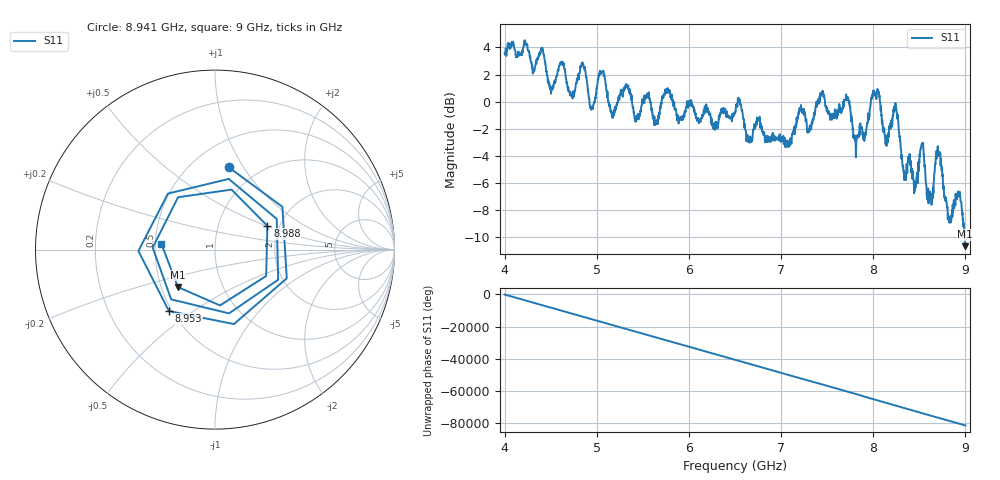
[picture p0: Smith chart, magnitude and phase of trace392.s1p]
! Created with skrf 1.8.0 (http://scikit-rf.org).
# Hz S RI R 50.0
!freq ReS11 ImS11
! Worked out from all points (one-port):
!   1601 points, 4 GHz to 9 GHz, reference 50 ohm
!   lowest |S11| = -10.6 dB at 8.997 GHz (marker M1), VSWR 1.83, Z = 30.5 - j13.9 ohm
!   |S11| at or under -10 dB: 8.992594 GHz to end of sweep
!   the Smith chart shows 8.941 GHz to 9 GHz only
!   S11 on the Smith chart (normalised r, x): 8.941 GHz: 0.74, +0.86; 8.953 GHz: 0.48, -0.40; 8.988 GHz: 1.73, +0.51; 9 GHz: 0.54, +0.04
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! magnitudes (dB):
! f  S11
! 4 GHz  3.6
! 4.506 GHz  0.8
! 4.625 GHz  2.7
! 4.731 GHz  0.3
! 4.853 GHz  2.8
! 4.947 GHz  -0.5
! 5.047 GHz  2.1
! 5.162 GHz  -0.8
! 5.25 GHz  0.5
! 5.875 GHz  -1.2
! 6.5 GHz  -0.9
! 7.125 GHz  -2.4
! 7.444 GHz  0.7
! 7.75 GHz  -0.3
! 7.816 GHz  -3.0
! 8.003 GHz  0.7
! 8.144 GHz  -3.3
! 8.244 GHz  -0.3
! 8.375 GHz  -4.4
! 8.528 GHz  -3.1
! 8.625 GHz  -7.0
! 8.703 GHz  -3.7
! 8.825 GHz  -8.7
! 8.941 GHz  -6.7
! 8.953 GHz  -7.4
! 8.988 GHz  -9.9
! 8.997 GHz  -10.6
! 9 GHz  -10.4
